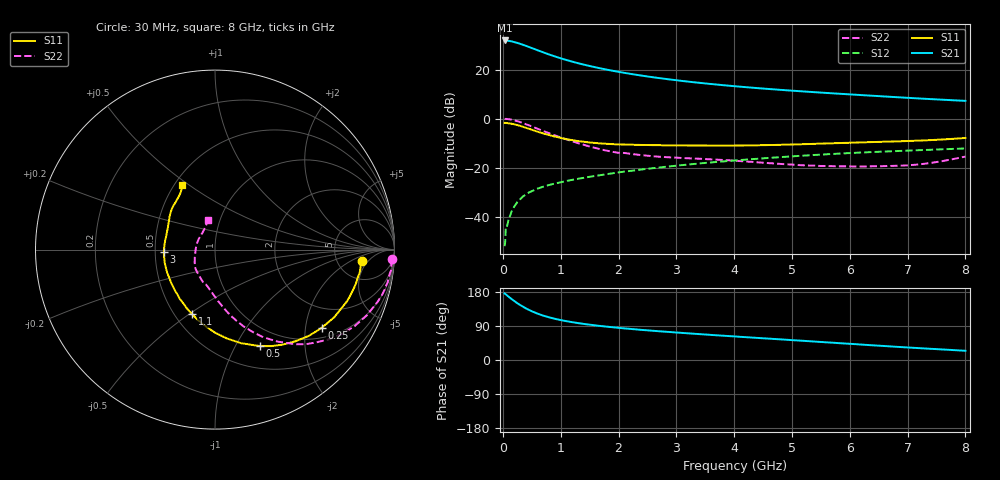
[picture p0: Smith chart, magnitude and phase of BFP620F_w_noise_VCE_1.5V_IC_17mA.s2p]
! Infineon Technologies  Discrete & RF Semiconductors
! BFP620F
! VCE =  1.5 V,  IC =  17 mA
! Common Emitter S-Parameters:  Dec 2014
# GHz  S  MA  R  50
!  f  S11  S21  S12  S22
! GHz  MAG  ANG  MAG  ANG  MAG  ANG  MAG  ANG
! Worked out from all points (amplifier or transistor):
!   95 points, 30 MHz to 8 GHz, reference 50 ohm
!   highest |S21| = 31.9 dB at 30 MHz (marker M1)
!   |S21| within 3 dB of that: start of sweep to 488.8 MHz
!   unconditionally stable (mu >= 1): 3.211 GHz to end of sweep
!   at 300 MHz: K = 0.24, MSG = 31.7 dB, |S12| = -32.9 dB
!   at 3.3 GHz: K = 1.00, MAG = 16.4 dB, |S12| = -18.5 dB
!   at 8 GHz: K = 1.07, MAG = 8.1 dB, |S12| = -12.2 dB
!   lowest NFmin = 0.76 dB at 450 MHz
!   S11 on the Smith chart (normalised r, x): 30 MHz: 8.66, -3.46; 250 MHz: 1.29, -2.46; 500 MHz: 0.76, -1.27; 1.1 GHz: 0.61, -0.51; 3 GHz: 0.56, -0.02; 8 GHz: 0.55, +0.47
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0.03  0.8191 -4.6  39.35 175.9  0.0025 79.3  0.9854 -3.2
0.08  0.8092 -12.3  39.06 169.5  0.007 84.0  0.9798 -9.5
0.15  0.7854 -22.5  37.73 161.0  0.0127 80.7  0.952 -17.8
0.2  0.7641 -29.5  36.38 155.4  0.0163 76.7  0.9218 -23.4
0.25  0.7371 -36.3  35.07 149.9  0.0198 73.4  0.8873 -28.7
0.3  0.7102 -42.6  33.58 145.0  0.0227 71.2  0.8496 -33.6
0.4  0.6496 -54.6  30.55 136.1  0.0285 67.0  0.768 -42.2
0.5  0.5939 -64.9  27.55 128.7  0.0331 64.1  0.6925 -49.6
0.6  0.5415 -74.4  24.85 122.3  0.0373 61.8  0.6208 -55.7
0.7  0.4986 -82.6  22.47 117.0  0.041 60.3  0.5583 -61.1
0.8  0.4619 -90.2  20.36 112.6  0.0443 58.7  0.5036 -65.5
0.9  0.4297 -97.1  18.59 108.7  0.0474 58.0  0.4553 -69.7
1.1  0.3816 -109.4  15.7 102.4  0.0535 57.4  0.3764 -76.8
1.4  0.3378 -125.4  12.65 95.2  0.062 56.8  0.2923 -85.9
1.7  0.3109 -138.9  10.53 89.6  0.0707 56.4  0.2348 -95.0
2  0.2981 -150.1  9.013 84.9  0.0799 56.0  0.2009 -104.5
2.7  0.2871 -170.0  6.729 75.9  0.1004 53.9  0.1673 -122.8
3  0.2847 -176.9  6.074 72.5  0.1096 52.8  0.16 -129.0
4.1  0.2831 163.2  4.489 61.2  0.1429 47.8  0.1362 -146.0
5.4  0.3063 146.5  3.461 48.6  0.1816 40.0  0.1098 -175.0
6.7  0.3404 131.5  2.788 35.9  0.2154 31.1  0.1082 146.4
8  0.4032 116.8  2.303 24.3  0.2461 22.4  0.1683 103.1
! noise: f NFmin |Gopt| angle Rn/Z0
0.45  0.76  0.1  6  0.21
0.9  0.82  0.1  17  0.18
1.5  0.87  0.09  18  0.13
1.8  0.89  0.09  19  0.13
1.9  0.9  0.05  35  0.15
2.4  0.94  0.04  56  0.13
3.5  1.02  0.04  106  0.14
5.5  1.16  0.12  -145  0.09
6  1.2  0.12  240  0.13
